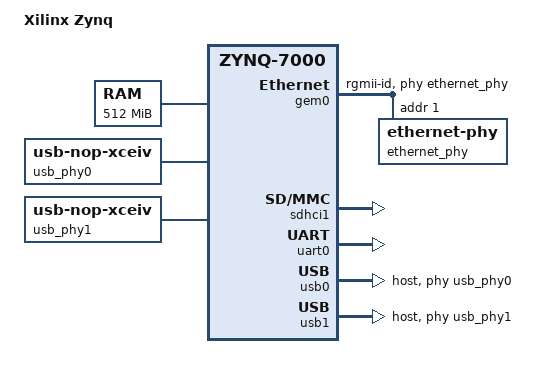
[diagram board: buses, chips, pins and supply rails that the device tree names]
// SPDX-License-Identifier: GPL-2.0+
/*
 * Xilinx CC108 board DTS
 *
 * (C) Copyright 2007-2018 Xilinx, Inc.
 * (C) Copyright 2007-2013 Michal Simek
 * (C) Copyright 2007-2012 PetaLogix Qld Pty Ltd
 *
 * Michal SIMEK <monstr@monstr.eu>
 */
/dts-v1/;
/include/ "zynq-7000.dtsi"

/ {
	compatible = "xlnx,zynq-cc108", "xlnx,zynq-7000";
	model = "Xilinx Zynq";

	aliases {
		ethernet0 = &gem0;
		serial0 = &uart0;
	};

	chosen {
		bootargs = "";
		stdout-path = "serial0:115200n8";
	};

	memory@0 {
		device_type = "memory";
		reg = <0x0 0x20000000>;
	};

	usb_phy0: phy0 {
		compatible = "usb-nop-xceiv";
		#phy-cells = <0>;
	};

	usb_phy1: phy1 {
		compatible = "usb-nop-xceiv";
		#phy-cells = <0>;
	};
};

&gem0 {
	status = "okay";
	phy-mode = "rgmii-id";
	phy-handle = <&ethernet_phy>;

	ethernet_phy: ethernet-phy@1 {
		reg = <1>;
		device_type = "ethernet-phy";
	};
};

&sdhci1 {
	status = "okay";
	broken-cd ;
	wp-inverted ;
};

&uart0 {
	status = "okay";
};

&usb0 {
	status = "okay";
	dr_mode = "host";
	usb-phy = <&usb_phy0>;
};

&usb1 {
	status = "okay";
	dr_mode = "host";
	usb-phy = <&usb_phy1>;
};
